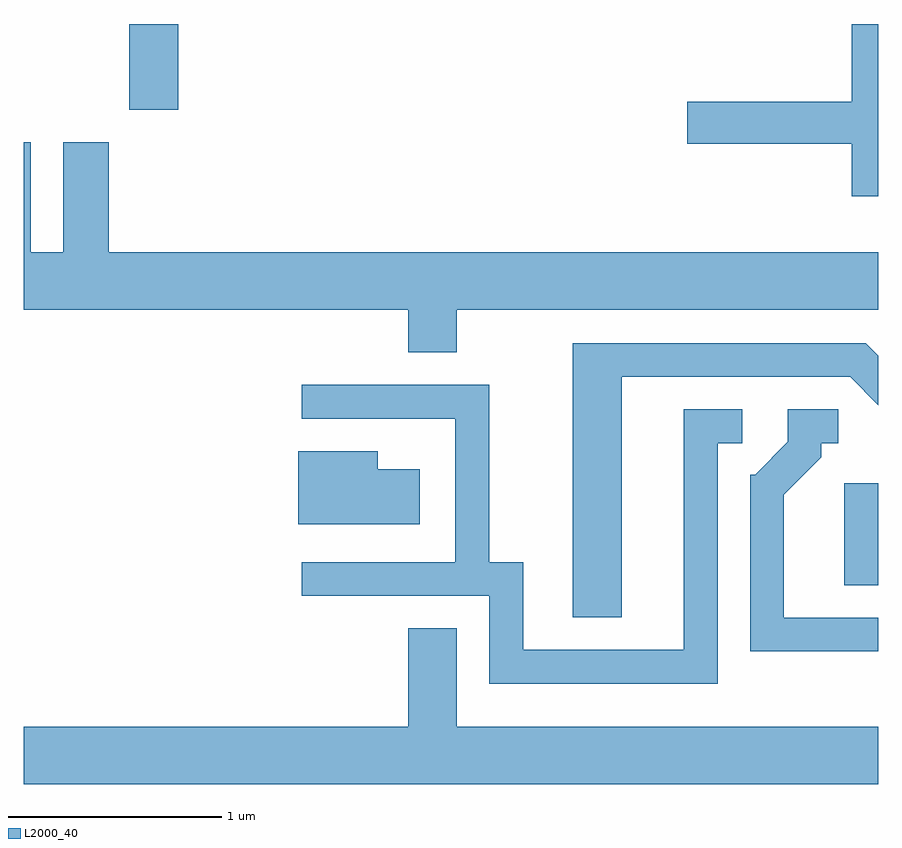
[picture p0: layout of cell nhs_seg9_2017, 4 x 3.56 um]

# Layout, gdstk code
import gdstk
lib = gdstk.Library(unit=1e-6, precision=1e-09)
def R(c, l, rs):  # rectangles x0, y0, x1, y1
    for r in rs: c.add(gdstk.rectangle(r[:2], r[2:], *l))
def P(c, l, *ps):  # polygons
    for p in ps: c.add(gdstk.Polygon(p, *l))
L2000_40 = (2000, 40)

nhs_seg9_2017 = lib.new_cell('nhs_seg9_2017')
R(nhs_seg9_2017, L2000_40, [(247.451,2043.806,247.611,2044.284), (244.106,2046.031,244.334,2046.432)])
P(nhs_seg9_2017, L2000_40, [(247.611,2046.432),(247.486,2046.432),(247.486,2046.069),(246.716,2046.069),(246.716,2045.871),(247.486,2045.871),(247.486,2045.626),(247.611,2045.626)],
  [(245.639,2045.096),(247.611,2045.096),(247.611,2045.364),(244.009,2045.364),(244.009,2045.879),(243.796,2045.879),(243.796,2045.364),(243.644,2045.364),(243.644,2045.879),(243.611,2045.879),(243.611,2045.096),(245.411,2045.096),(245.411,2044.896),(245.639,2044.896)],
  [(246.409,2044.781),(247.479,2044.781),(247.611,2044.649),(247.611,2044.88),(247.552,2044.939),(246.181,2044.939),(246.181,2043.656),(246.409,2043.656)],
  [(246.859,2044.471),(246.973,2044.471),(246.973,2044.629),(246.701,2044.629),(246.701,2043.504),(245.949,2043.504),(245.949,2043.914),(245.789,2043.914),(245.789,2044.744),(244.913,2044.744),(244.913,2044.586),(245.631,2044.586),(245.631,2043.914),(244.913,2043.914),(244.913,2043.756),(245.791,2043.756),(245.791,2043.346),(246.859,2043.346)],
  [(247.611,2043.654),(247.169,2043.654),(247.169,2044.229),(247.344,2044.404),(247.344,2044.471),(247.423,2044.471),(247.423,2044.629),(247.186,2044.629),(247.186,2044.477),(247.034,2044.324),(247.011,2044.324),(247.011,2043.496),(247.611,2043.496)],
  [(245.464,2044.349),(245.269,2044.349),(245.269,2044.434),(244.896,2044.434),(244.896,2044.091),(245.464,2044.091)],
  [(247.611,2043.144),(245.639,2043.144),(245.639,2043.604),(245.411,2043.604),(245.411,2043.144),(243.611,2043.144),(243.611,2042.876),(247.611,2042.876)])

lib.write_gds('nhs_seg9_2017.gds')
